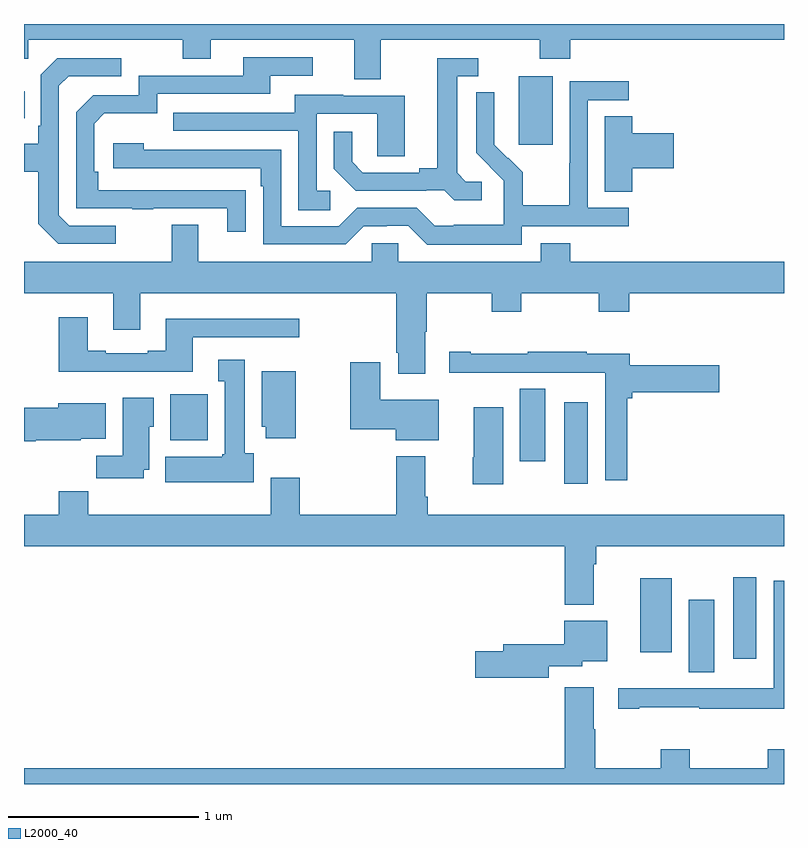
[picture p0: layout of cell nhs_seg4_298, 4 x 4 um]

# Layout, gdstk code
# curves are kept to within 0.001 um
import gdstk
lib = gdstk.Library(unit=1e-6, precision=1e-09)
def R(c, l, rs):  # rectangles x0, y0, x1, y1
    for r in rs: c.add(gdstk.rectangle(r[:2], r[2:], *l))
def P(c, l, *ps):  # polygons
    for p in ps: c.add(gdstk.Polygon(p, *l))
L2000_40 = (2000, 40)

nhs_seg4_298 = lib.new_cell('nhs_seg4_298')
R(nhs_seg4_298, L2000_40, [(128.498,797.488,128.632,797.869), (128.732,797.559,128.854,797.989), (128.243,797.594,128.41,797.983), (127.844,798.48,127.966,798.91), (127.61,798.6,127.744,798.98), (125.771,798.71,125.968,798.952), (127.604,800.265,127.783,800.626), (125,800.405,125.003,800.545)])
P(nhs_seg4_298, L2000_40, [(126.877,800.816),(127.714,800.816),(127.714,800.717),(127.874,800.717),(127.874,800.816),(129,800.816),(129,800.9),(125,800.9),(125,800.717),(125.022,800.717),(125.022,800.816),(125.836,800.816),(125.836,800.717),(125.983,800.717),(125.983,800.816),(126.737,800.816),(126.737,800.608),(126.877,800.608)],
  [(126.167,800.024),(125.39,800.025),(125.39,800.122),(125.37,800.122),(125.37,800.376),(125.423,800.429),(125.7,800.429),(125.7,800.532),(126.295,800.532),(126.295,800.628),(126.52,800.628),(126.52,800.724),(126.155,800.724),(126.155,800.628),(125.604,800.628),(125.604,800.526),(125.364,800.526),(125.274,800.436),(125.274,799.929),(125.569,799.929),(125.569,799.924),(125.681,799.924),(125.681,799.929),(126.071,799.929),(126.071,799.806),(126.167,799.806)],
  [(127.408,800.07),(127.326,800.07),(127.279,800.117),(127.279,800.625),(127.39,800.625),(127.39,800.721),(127.175,800.721),(127.175,800.141),(127.079,800.141),(127.079,800.118),(126.784,800.118),(126.727,800.175),(126.727,800.332),(126.63,800.332),(126.63,800.138),(126.746,800.022),(127.118,800.022),(127.118,800.025),(127.212,800.025),(127.264,799.973),(127.408,799.973)],
  [(125.482,799.839),(125.238,799.839),(125.184,799.893),(125.184,800.574),(125.235,800.625),(125.512,800.625),(125.512,800.721),(125.175,800.721),(125.088,800.634),(125.088,800.365),(125.076,800.365),(125.076,800.269),(125,800.269),(125,800.122),(125.076,800.122),(125.076,799.849),(125.181,799.743),(125.482,799.743)],
  [(127.62,799.836),(128.182,799.836),(128.182,799.932),(127.968,799.932),(127.968,800.499),(128.182,800.499),(128.182,800.598),(127.872,800.598),(127.872,800.168),(127.87,800.168),(127.87,799.945),(127.625,799.945),(127.625,800.119),(127.548,800.196),(127.545,800.193),(127.475,800.264),(127.476,800.54),(127.38,800.54),(127.38,800.222),(127.526,800.074),(127.526,799.977),(127.524,799.977),(127.524,799.843),(127.261,799.843),(127.261,799.839),(127.161,799.839),(127.068,799.932),(126.753,799.932),(126.657,799.836),(126.354,799.836),(126.354,800.238),(125.63,800.238),(125.63,800.272),(125.469,800.272),(125.469,800.142),(126.245,800.142),(126.245,800.045),(126.258,800.045),(126.258,799.74),(126.693,799.74),(126.789,799.836),(126.908,799.836),(126.908,799.839),(127.023,799.839),(127.123,799.739),(127.62,799.739)],
  [(126.613,800.022),(126.54,800.022),(126.54,800.427),(126.858,800.427),(126.858,800.203),(127.003,800.203),(127.003,800.523),(126.679,800.523),(126.679,800.527),(126.425,800.527),(126.425,800.433),(125.785,800.433),(125.785,800.337),(126.444,800.337),(126.444,799.921),(126.613,799.921)],
  [(128.201,800.141),(128.419,800.141),(128.419,800.324),(128.201,800.324),(128.201,800.414),(128.057,800.414),(128.057,800.017),(128.201,800.017)],
  [(127.111,799.28),(127.119,799.28),(127.119,799.484),(127.462,799.484),(127.462,799.385),(127.617,799.385),(127.617,799.484),(128.026,799.484),(128.026,799.385),(128.186,799.385),(128.186,799.484),(129,799.484),(129,799.648),(127.874,799.648),(127.874,799.747),(127.721,799.747),(127.721,799.648),(126.969,799.648),(126.969,799.746),(126.831,799.746),(126.831,799.648),(125.917,799.648),(125.917,799.843),(125.777,799.843),(125.777,799.648),(125,799.648),(125,799.484),(125.471,799.484),(125.471,799.29),(125.611,799.29),(125.611,799.484),(126.959,799.484),(126.959,799.171),(126.971,799.171),(126.971,799.059),(127.111,799.059)],
  [(125.887,799.251),(126.448,799.251),(126.448,799.348),(125.747,799.348),(125.747,799.18),(125.651,799.18),(125.651,799.167),(125.431,799.167),(125.431,799.18),(125.335,799.18),(125.335,799.357),(125.183,799.357),(125.183,799.07),(125.887,799.07)],
  [(128.174,798.929),(128.201,798.929),(128.201,798.962),(128.659,798.962),(128.659,799.104),(128.188,799.104),(128.188,799.164),(127.961,799.164),(127.961,799.174),(127.651,799.174),(127.651,799.164),(127.351,799.164),(127.351,799.174),(127.239,799.174),(127.239,799.064),(127.514,799.064),(127.514,799.065),(127.848,799.065),(127.848,799.064),(128.058,799.064),(128.058,798.498),(128.174,798.498)],
  [(126.208,798.642),(126.163,798.642),(126.163,799.132),(126.023,799.132),(126.023,799.019),(126.056,799.019),(126.056,798.636),(126.043,798.636),(126.043,798.622),(125.744,798.622),(125.744,798.488),(126.208,798.488)],
  [(127.183,798.922),(126.874,798.922),(126.874,799.12),(126.716,799.12),(126.716,798.767),(126.956,798.767),(126.956,798.71),(127.183,798.71)],
  [(126.43,799.072),(126.251,799.072),(126.251,798.78),(126.272,798.78),(126.272,798.72),(126.43,798.72)],
  [(125.629,798.554),(125.659,798.554),(125.659,798.78),(125.683,798.78),(125.683,798.934),(125.519,798.934),(125.519,798.628),(125.38,798.628),(125.38,798.51),(125.629,798.51)],
  [(125.062,798.71),(125.298,798.71),(125.298,798.716),(125.431,798.716),(125.431,798.904),(125.18,798.904),(125.18,798.881),(125,798.881),(125,798.703),(125.062,798.703)],
  [(127.522,798.883),(127.367,798.883),(127.367,798.621),(127.361,798.621),(127.361,798.477),(127.522,798.477)],
  [(127.999,798.056),(128.012,798.056),(128.012,798.152),(129,798.152),(129,798.316),(127.124,798.316),(127.124,798.412),(127.111,798.412),(127.111,798.625),(126.959,798.625),(126.959,798.316),(126.452,798.316),(126.452,798.511),(126.299,798.511),(126.299,798.316),(125.339,798.316),(125.339,798.44),(125.183,798.44),(125.183,798.316),(125,798.316),(125,798.152),(127.847,798.152),(127.847,797.843),(127.999,797.843)],
  [(128.239,797.305),(128.555,797.305),(128.555,797.295),(128.97,797.295),(128.97,797.297),(129,797.297),(129,797.971),(128.946,797.971),(128.946,797.404),(128.736,797.404),(128.736,797.403),(128.402,797.403),(128.402,797.405),(128.127,797.405),(128.127,797.295),(128.239,797.295)],
  [(127.762,797.52),(127.938,797.52),(127.938,797.546),(128.071,797.546),(128.071,797.758),(127.844,797.758),(127.844,797.636),(127.523,797.636),(127.523,797.6),(127.374,797.6),(127.374,797.458),(127.762,797.458)],
  [(129,797.083),(128.914,797.083),(128.914,796.984),(128.505,796.984),(128.505,797.083),(128.35,797.083),(128.35,796.984),(128.007,796.984),(128.007,797.189),(127.999,797.189),(127.999,797.41),(127.847,797.41),(127.847,796.984),(125,796.984),(125,796.9),(129,796.9)])

lib.write_gds('nhs_seg4_298.gds')
